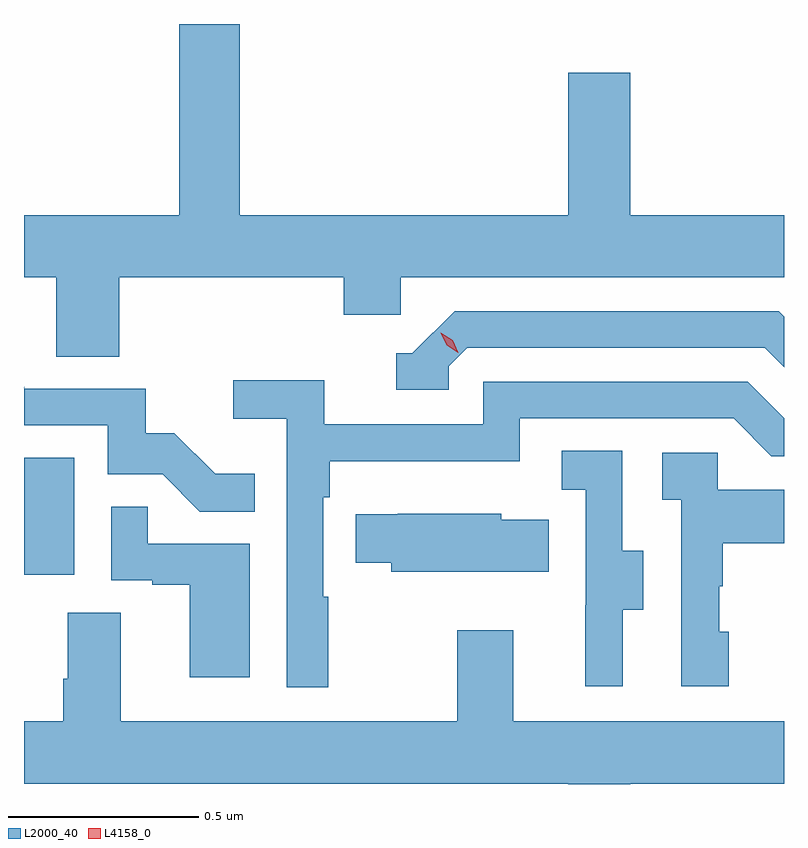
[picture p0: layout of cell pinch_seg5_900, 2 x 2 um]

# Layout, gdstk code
import gdstk
lib = gdstk.Library(unit=1e-6, precision=1e-09)
def R(c, l, rs):  # rectangles x0, y0, x1, y1
    for r in rs: c.add(gdstk.rectangle(r[:2], r[2:], *l))
def P(c, l, *ps):  # polygons
    for p in ps: c.add(gdstk.Polygon(p, *l))
L2000_40 = (2000, 40)
L4158_0 = (4158, 0)

pinch_seg5_900 = lib.new_cell('pinch_seg5_900')
R(pinch_seg5_900, L2000_40, [(882.856,891.942,882.988,892.249)])
P(pinch_seg5_900, L2000_40, [(883.106,892.724),(883.697,892.724),(883.697,892.626),(883.848,892.626),(883.848,892.724),(884.856,892.724),(884.856,892.888),(884.452,892.888),(884.452,893.263),(884.288,893.263),(884.288,892.888),(883.424,892.888),(883.424,893.391),(883.264,893.391),(883.264,892.888),(882.856,892.888),(882.856,892.724),(882.941,892.724),(882.941,892.516),(883.106,892.516)],
  [(883.974,892.491),(884.022,892.539),(884.805,892.539),(884.856,892.488),(884.856,892.621),(884.842,892.635),(883.989,892.635),(883.878,892.524),(883.835,892.524),(883.835,892.428),(883.974,892.428)],
  [(883.657,891.884),(883.644,891.884),(883.644,892.145),(883.661,892.145),(883.661,892.241),(884.16,892.241),(884.16,892.353),(884.724,892.353),(884.823,892.254),(884.856,892.254),(884.856,892.354),(884.761,892.449),(884.064,892.449),(884.064,892.338),(883.646,892.338),(883.646,892.454),(883.407,892.454),(883.407,892.352),(883.548,892.352),(883.548,891.645),(883.657,891.645)],
  [(883.463,892.207),(883.359,892.207),(883.252,892.314),(883.176,892.314),(883.176,892.431),(882.857,892.431),(882.857,892.436),(882.856,892.436),(882.856,892.335),(883.077,892.335),(883.077,892.206),(883.221,892.206),(883.319,892.108),(883.463,892.108)],
  [(884.431,891.85),(884.485,891.85),(884.485,892.005),(884.43,892.005),(884.43,892.268),(884.271,892.268),(884.271,892.165),(884.334,892.165),(884.334,891.861),(884.333,891.861),(884.333,891.648),(884.431,891.648)],
  [(884.71,891.792),(884.685,891.792),(884.685,891.911),(884.695,891.911),(884.695,892.025),(884.856,892.025),(884.856,892.165),(884.682,892.165),(884.682,892.263),(884.535,892.263),(884.535,892.139),(884.586,892.139),(884.586,891.648),(884.71,891.648)],
  [(883.45,892.023),(883.181,892.023),(883.181,892.121),(883.086,892.121),(883.086,891.927),(883.193,891.927),(883.193,891.915),(883.292,891.915),(883.292,891.672),(883.45,891.672)],
  [(884.237,892.087),(884.112,892.087),(884.112,892.102),(883.84,892.102),(883.84,892.101),(883.729,892.101),(883.729,891.973),(883.823,891.973),(883.823,891.95),(884.237,891.95)],
  [(884.452,891.392),(884.856,891.392),(884.856,891.556),(884.143,891.556),(884.143,891.796),(883.996,891.796),(883.996,891.556),(883.111,891.556),(883.111,891.842),(882.971,891.842),(882.971,891.668),(882.959,891.668),(882.959,891.556),(882.856,891.556),(882.856,891.392),(884.288,891.392),(884.288,891.391),(884.452,891.391)])
P(pinch_seg5_900, L4158_0, [(883.999,892.526),(883.969,892.546),(883.953,892.579),(883.953,892.579),(883.953,892.579),(883.984,892.559),(883.999,892.526),(883.999,892.526)])

lib.write_gds('pinch_seg5_900.gds')
